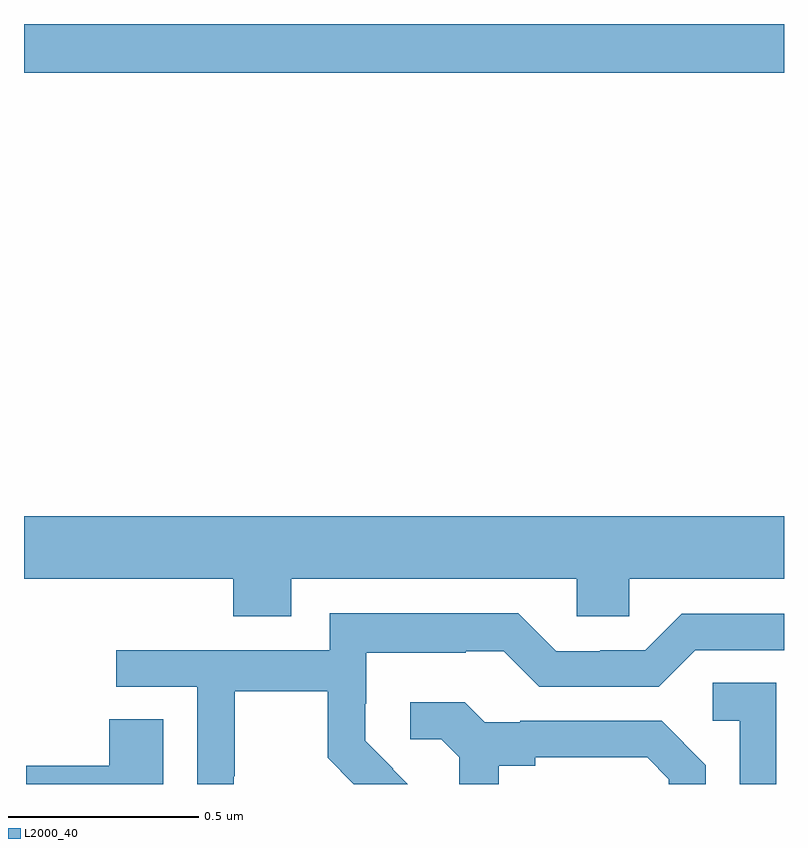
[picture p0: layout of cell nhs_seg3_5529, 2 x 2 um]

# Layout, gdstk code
import gdstk
lib = gdstk.Library(unit=1e-6, precision=1e-09)
def R(c, l, rs):  # rectangles x0, y0, x1, y1
    for r in rs: c.add(gdstk.rectangle(r[:2], r[2:], *l))
def P(c, l, *ps):  # polygons
    for p in ps: c.add(gdstk.Polygon(p, *l))
L2000_40 = (2000, 40)

nhs_seg3_5529 = lib.new_cell('nhs_seg3_5529')
R(nhs_seg3_5529, L2000_40, [(180,678.272,182,678.4)])
P(nhs_seg3_5529, L2000_40, [(180.703,676.94),(181.455,676.94),(181.455,676.842),(181.593,676.842),(181.593,676.94),(182,676.94),(182,677.104),(180,677.104),(180,676.94),(180.551,676.94),(180.551,676.841),(180.703,676.841)],
  [(180.552,676.42),(180.555,676.42),(180.555,676.644),(180.799,676.644),(180.799,676.469),(180.868,676.4),(181.01,676.4),(180.971,676.439),(180.972,676.44),(180.898,676.514),(180.898,676.611),(180.9,676.611),(180.9,676.745),(181.163,676.745),(181.163,676.749),(181.263,676.749),(181.356,676.656),(181.671,676.656),(181.767,676.752),(182,676.752),(182,676.848),(181.731,676.848),(181.635,676.752),(181.517,676.752),(181.517,676.749),(181.401,676.749),(181.301,676.849),(180.804,676.849),(180.804,676.752),(180.243,676.752),(180.243,676.656),(180.456,676.656),(180.456,676.4),(180.552,676.4)],
  [(181.98,676.667),(181.812,676.667),(181.812,676.566),(181.884,676.566),(181.884,676.4),(181.98,676.4)],
  [(181.249,676.448),(181.345,676.448),(181.345,676.47),(181.64,676.47),(181.697,676.413),(181.697,676.4),(181.794,676.4),(181.794,676.45),(181.678,676.566),(181.306,676.566),(181.306,676.563),(181.212,676.563),(181.16,676.615),(181.017,676.615),(181.017,676.518),(181.098,676.518),(181.145,676.471),(181.145,676.4),(181.249,676.4)],
  [(180.367,676.571),(180.224,676.571),(180.224,676.448),(180.006,676.448),(180.006,676.4),(180.367,676.4)])

lib.write_gds('nhs_seg3_5529.gds')
